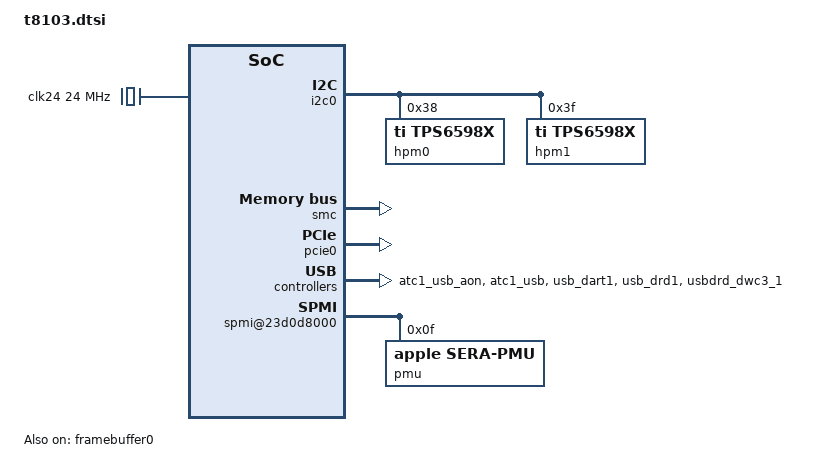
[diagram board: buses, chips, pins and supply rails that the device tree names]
// SPDX-License-Identifier: GPL-2.0+ OR MIT
/*
 * Apple T8103 "M1" SoC
 *
 * Other names: H13G, "Tonga"
 *
 * Copyright The Asahi Linux Contributors
 */

#include <dt-bindings/interrupt-controller/apple-aic.h>
#include <dt-bindings/interrupt-controller/irq.h>
#include <dt-bindings/pinctrl/apple.h>
#include <dt-bindings/spmi/spmi.h>

/ {
	compatible = "apple,t8103", "apple,arm-platform";

	#address-cells = <2>;
	#size-cells = <2>;

	framebuffer0: framebuffer@0 {
		compatible = "apple,simple-framebuffer", "simple-framebuffer";
		reg = <0x0b 0xdf438000 0x00 0x3e80000>;
		format = "x2r10g10b10";
		height = <0x640>;
		stride = <0x2800>;
		width = <0xa00>;
		status = "okay";
	};
	cpus {
		#address-cells = <2>;
		#size-cells = <0>;

		cpu0: cpu@0 {
			compatible = "apple,icestorm";
			device_type = "cpu";
			reg = <0x0 0x0>;
			enable-method = "spin-table";
			cpu-release-addr = <0 0>; /* To be filled by loader */
		};

		cpu1: cpu@1 {
			compatible = "apple,icestorm";
			device_type = "cpu";
			reg = <0x0 0x1>;
			enable-method = "spin-table";
			cpu-release-addr = <0 0>; /* To be filled by loader */
		};

		cpu2: cpu@2 {
			compatible = "apple,icestorm";
			device_type = "cpu";
			reg = <0x0 0x2>;
			enable-method = "spin-table";
			cpu-release-addr = <0 0>; /* To be filled by loader */
		};

		cpu3: cpu@3 {
			compatible = "apple,icestorm";
			device_type = "cpu";
			reg = <0x0 0x3>;
			enable-method = "spin-table";
			cpu-release-addr = <0 0>; /* To be filled by loader */
		};

		cpu4: cpu@10100 {
			compatible = "apple,firestorm";
			device_type = "cpu";
			reg = <0x0 0x10100>;
			enable-method = "spin-table";
			cpu-release-addr = <0 0>; /* To be filled by loader */
		};

		cpu5: cpu@10101 {
			compatible = "apple,firestorm";
			device_type = "cpu";
			reg = <0x0 0x10101>;
			enable-method = "spin-table";
			cpu-release-addr = <0 0>; /* To be filled by loader */
		};

		cpu6: cpu@10102 {
			compatible = "apple,firestorm";
			device_type = "cpu";
			reg = <0x0 0x10102>;
			enable-method = "spin-table";
			cpu-release-addr = <0 0>; /* To be filled by loader */
		};

		cpu7: cpu@10103 {
			compatible = "apple,firestorm";
			device_type = "cpu";
			reg = <0x0 0x10103>;
			enable-method = "spin-table";
			cpu-release-addr = <0 0>; /* To be filled by loader */
		};
	};

	timer {
		compatible = "arm,armv8-timer";
		interrupt-parent = <&aic>;
		interrupt-names = "hyp-phys", "hyp-virt", "phys", "virt";
		interrupts = <AIC_FIQ AIC_TMR_HV_PHYS IRQ_TYPE_LEVEL_HIGH>,
			     <AIC_FIQ AIC_TMR_HV_VIRT IRQ_TYPE_LEVEL_HIGH>,
			     <AIC_FIQ AIC_TMR_GUEST_PHYS IRQ_TYPE_LEVEL_HIGH>,
			     <AIC_FIQ AIC_TMR_GUEST_VIRT IRQ_TYPE_LEVEL_HIGH>;
	};

	clk24: clock-24m {
		compatible = "fixed-clock";
		#clock-cells = <0>;
		clock-frequency = <24000000>;
		clock-output-names = "clk24";
	};

	soc {
		compatible = "simple-bus";
		#address-cells = <2>;
		#size-cells = <2>;

		ranges;
		nonposted-mmio;

		aic: interrupt-controller@23b100000 {
			compatible = "apple,t8103-aic", "apple,aic";
			#interrupt-cells = <3>;
			interrupt-controller;
			reg = <0x2 0x3b100000 0x0 0x8000>;
		};

		serial0: serial@235200000 {
			compatible = "apple,s5l-uart";
			reg = <0x2 0x35200000 0x0 0x1000>;
			reg-io-width = <4>;
			interrupt-parent = <&aic>;
			interrupts = <AIC_IRQ 605 IRQ_TYPE_LEVEL_HIGH>;
			/*
			 * TODO: figure out the clocking properly, there may
			 * be a third selectable clock.
			 */
			clocks = <&clk24>, <&clk24>;
			clock-names = "uart", "clk_uart_baud0";
			status = "disabled";
		};

		gpio_clk: clock@23b700130 {
			compatible = "apple,pmgr-clk-gate";
			reg = <0x2 0x3b700130 0x0 0x8>;
			#clock-cells = <0>;
		};

		pinctrl: pinctrl@23c100000 {
			compatible = "apple,t8103-pinctrl", "apple,pinctrl";
			reg = <0x2 0x3c100000 0x0 0x100000>;
			clocks = <&gpio_clk>;

			gpio-controller;
			#gpio-cells = <2>;
			gpio-ranges = <&pinctrl 0 0 212>;

			i2c0_pins: i2c0_pins {
				pinmux = <APPLE_PINMUX(188, 1)>,
					 <APPLE_PINMUX(192, 1)>;
			};

			pcie_pins: pcie-pins {
				pinmux = <APPLE_PINMUX(150, 1)>,
				         <APPLE_PINMUX(151, 1)>,
					 <APPLE_PINMUX(32, 1)>;
			};
		};

		sio_busif_clk: clock@23b7001c0 {
			compatible = "apple,pmgr-clk-gate";
			reg = <0x2 0x3b7001c0 0x0 0x8>;
			#clock-cells = <0>;
			clocks = <&clk24>;
		};

		sio_clk: clock@23b7001c8 {
			compatible = "apple,pmgr-clk-gate";
			reg = <0x2 0x3b7001c8 0x0 0x8>;
			#clock-cells = <0>;
			clocks = <&sio_busif_clk>;
		};

		i2c0_clk: clock@23b7001f0 {
			compatible = "apple,pmgr-clk-gate";
			reg = <0x2 0x3b7001f0 0x0 0x8>;
			#clock-cells = <0>;
			clocks = <&sio_clk>;
		};

		i2c0: i2c@20a110000 {
			compatible = "apple,i2c-v0";
			reg = <0x2 0x35010000 0x0 0x4000>;
			interrupt-parent = <&aic>;
			interrupts = <AIC_IRQ 627 IRQ_TYPE_LEVEL_HIGH>;
			clocks = <&i2c0_clk>;
			pinctrl-0 = <&i2c0_pins>;
			pinctrl-names = "default";
			#address-cells = <0x1>;
			#size-cells = <0x0>;

			hpm0: hpm@38 {
				compatible = "ti,tps6598x";
				reg = <0x38>;
			};

			hpm1: hpm@3f {
				compatible = "ti,tps6598x";
				reg = <0x3f>;
			};
                };

		imx_clk: clock@23b7001b8 {
			compatible = "apple,pmgr-clk-gate";
			reg = <0x2 0x3b7001b8 0x0 0x8>;
			#clock-cells = <0>;
		};

		pcie_aux_clk: clock@23b700348 {
			compatible = "apple,pmgr-clk-gate";
			reg = <0x2 0x3b700348 0x0 0x8>;
			#clock-cells = <0>;
			clocks = <&imx_clk>;
		};

		pcie_core_clk: clock@23b7003e8 {
			compatible = "apple,pmgr-clk-gate";
			reg = <0x2 0x3b7003e8 0x0 0x8>;
			#clock-cells = <0>;
			clocks = <&pcie_aux_clk>;
		};

		pcie_ref_clk: clock@23b7001a0 {
			compatible = "apple,pmgr-clk-gate";
			reg = <0x2 0x3b7001a0 0x0 0x8>;
			#clock-cells = <0>;
		};

		ans_clk: clock@23b7003f0 {
			compatible = "apple,pmgr-clk-gate";
			reg = <0x2 0x3b7003f0 0x0 0x8>;
			#clock-cells = <0>;
			clocks = <&pcie_aux_clk>;
		};

		ans_st_clk: clock@23b700418 {
			compatible = "apple,pmgr-clk-gate";
			reg = <0x2 0x3b700418 0x0 0x8>;
			#clock-cells = <0>;
			clocks = <&ans_clk>;
		};

		smc_mbox: mbox@23e400000 {
			compatible = "apple,iop-mailbox-m1";
			reg = <0x2 0x3e400000 0x0 0x20000>;
			#mbox-cells = <1>;
			endpoints = <32>;
		};

		smc: smc@23e050000 {
			compatible = "apple,smc-m1";
			reg = <0x2 0x3e050000 0x0 0x4000>;
			mboxes = <&smc_mbox 32>;
			gpio-controller;
			#gpio-cells = <2>;
			gpio-13 = <0x00800000>;
		};

		ans@27bcc0000 {
			compatible = "apple,nvme-m1";
			reg = <0x2 0x7bcc0000 0x0 0x40000>,
			      <0x2 0x7bc50000 0x0 0x4000>;
			interrupt-parent = <&aic>;
			interrupts = <AIC_IRQ 590 IRQ_TYPE_LEVEL_HIGH>;
			clocks = <&ans_st_clk>;
			mboxes = <&ans_mbox 32>;
		};

		ans_mbox: mbox@277400000 {
			compatible = "apple,iop-mailbox-m1";
			reg = <0x2 0x77400000 0x0 0x20000>;
			interrupt-parent = <&aic>;
			interrupts = <AIC_IRQ 583 IRQ_TYPE_LEVEL_HIGH>,
				     <AIC_IRQ 586 IRQ_TYPE_LEVEL_HIGH>;
			clocks = <&ans_st_clk>;
			#mbox-cells = <1>;
			endpoints = <32>;
		};

		dart0: dart@681008000 {
			compatible = "apple,dart-m1";
			reg = <0x6 0x81008000 0x0 0x4000>;
			#iommu-cells = <1>;
			clocks = <&pcie_core_clk>;
			sid-mask = <0xffff>;
			interrupt-parent = <&aic>;
			interrupts = <AIC_IRQ 696 IRQ_TYPE_LEVEL_HIGH>;
		};

		dart1: dart@682008000 {
			compatible = "apple,dart-m1";
			reg = <0x6 0x82008000 0x0 0x4000>;
			#iommu-cells = <1>;
			clocks = <&pcie_core_clk>;
			sid-mask = <0xffff>;
			interrupt-parent = <&aic>;
			interrupts = <AIC_IRQ 699 IRQ_TYPE_LEVEL_HIGH>;
		};

		dart2: dart@683008000 {
			compatible = "apple,dart-m1";
			reg = <0x6 0x83008000 0x0 0x4000>;
			#iommu-cells = <1>;
			clocks = <&pcie_core_clk>;
			sid-mask = <0xffff>;
			interrupt-parent = <&aic>;
			interrupts = <AIC_IRQ 702 IRQ_TYPE_LEVEL_HIGH>;
		};

		pcie0: pcie@690000000 {
			compatible = "apple,t8103-pcie", "apple,pcie",
				     "apple,pcie-m1";

			reg = <0x6 0x90000000 0x0 0x1000000>,
			      <0x6 0x80000000 0x0 0x4000>,
			      <0x6 0x8c000000 0x0 0x4000>,
			      <0x6 0x81000000 0x0 0x8000>,
			      <0x6 0x82000000 0x0 0x8000>,
			      <0x6 0x83000000 0x0 0x8000>;
			reg-names = "config", "rc", "phy", "port0",
				    "port1", "port2";

			interrupt-parent = <&aic>;
			interrupts = <AIC_IRQ 695 IRQ_TYPE_LEVEL_HIGH>,
				     <AIC_IRQ 698 IRQ_TYPE_LEVEL_HIGH>,
				     <AIC_IRQ 701 IRQ_TYPE_LEVEL_HIGH>,
				     <AIC_IRQ 704 IRQ_TYPE_LEVEL_HIGH>,
				     <AIC_IRQ 705 IRQ_TYPE_LEVEL_HIGH>,
				     <AIC_IRQ 706 IRQ_TYPE_LEVEL_HIGH>,
				     <AIC_IRQ 707 IRQ_TYPE_LEVEL_HIGH>,
				     <AIC_IRQ 708 IRQ_TYPE_LEVEL_HIGH>,
				     <AIC_IRQ 709 IRQ_TYPE_LEVEL_HIGH>,
				     <AIC_IRQ 710 IRQ_TYPE_LEVEL_HIGH>,
				     <AIC_IRQ 711 IRQ_TYPE_LEVEL_HIGH>,
				     <AIC_IRQ 712 IRQ_TYPE_LEVEL_HIGH>,
				     <AIC_IRQ 713 IRQ_TYPE_LEVEL_HIGH>,
				     <AIC_IRQ 714 IRQ_TYPE_LEVEL_HIGH>,
				     <AIC_IRQ 715 IRQ_TYPE_LEVEL_HIGH>,
				     <AIC_IRQ 716 IRQ_TYPE_LEVEL_HIGH>,
				     <AIC_IRQ 717 IRQ_TYPE_LEVEL_HIGH>,
				     <AIC_IRQ 718 IRQ_TYPE_LEVEL_HIGH>,
				     <AIC_IRQ 719 IRQ_TYPE_LEVEL_HIGH>,
				     <AIC_IRQ 720 IRQ_TYPE_LEVEL_HIGH>,
				     <AIC_IRQ 721 IRQ_TYPE_LEVEL_HIGH>,
				     <AIC_IRQ 722 IRQ_TYPE_LEVEL_HIGH>,
				     <AIC_IRQ 723 IRQ_TYPE_LEVEL_HIGH>,
				     <AIC_IRQ 724 IRQ_TYPE_LEVEL_HIGH>,
				     <AIC_IRQ 725 IRQ_TYPE_LEVEL_HIGH>,
				     <AIC_IRQ 726 IRQ_TYPE_LEVEL_HIGH>,
				     <AIC_IRQ 727 IRQ_TYPE_LEVEL_HIGH>,
				     <AIC_IRQ 728 IRQ_TYPE_LEVEL_HIGH>,
				     <AIC_IRQ 729 IRQ_TYPE_LEVEL_HIGH>,
				     <AIC_IRQ 730 IRQ_TYPE_LEVEL_HIGH>,
				     <AIC_IRQ 731 IRQ_TYPE_LEVEL_HIGH>,
				     <AIC_IRQ 732 IRQ_TYPE_LEVEL_HIGH>,
				     <AIC_IRQ 733 IRQ_TYPE_LEVEL_HIGH>,
				     <AIC_IRQ 734 IRQ_TYPE_LEVEL_HIGH>,
				     <AIC_IRQ 735 IRQ_TYPE_LEVEL_HIGH>;

			msi-controller;
			msi-parent = <&pcie0>;
			msi-ranges = <704 32>;

			iommu-map = <0x100 &dart0 1 1>,
				    <0x200 &dart1 1 1>,
				    <0x300 &dart2 1 1>;
			iommu-map-mask = <0xff00>;

			bus-range = <0 3>;
			#address-cells = <3>;
			#size-cells = <2>;
			ranges = <0x43000000 0x6 0xa0000000 0x6 0xa0000000
			          0x0 0x20000000>,
				 <0x02000000 0x0 0xc0000000 0x6 0xc0000000
				  0x0 0x40000000>;

			clocks = <&pcie_core_clk>, <&pcie_aux_clk>,
				 <&pcie_ref_clk>;
			pinctrl-0 = <&pcie_pins>;
			pinctrl-names = "default";

			device_type = "pci";

			pci@0,0 {
				device_type = "pci";
				reg = <0x0 0x0 0x0 0x0 0x0>;
				pwren-gpios = <&smc 13 0>;
				reset-gpios = <&pinctrl 152 0>;
				max-link-speed = <2>;

				#address-cells = <3>;
				#size-cells = <2>;
				ranges;
			};

			pci@1,0 {
				device_type = "pci";
				reg = <0x800 0x0 0x0 0x0 0x0>;
				reset-gpios = <&pinctrl 153 0>;
				max-link-speed = <2>;

				#address-cells = <3>;
				#size-cells = <2>;
				ranges;
			};

			pci@2,0 {
				device_type = "pci";
				reg = <0x1000 0x0 0x0 0x0 0x0>;
				reset-gpios = <&pinctrl 33 0>;
				max-link-speed = <1>;

				#address-cells = <3>;
				#size-cells = <2>;
				ranges;
			};
		};

		atc1_common: clock@23b700448 {
			compatible = "apple,pmgr-clk-gate";
			reg = <0x2 0x3b700448 0x0 0x8>;
			#clock-cells = <0>;
			clocks = <&clk24>;
		};

		atc1_usb_aon: clock@23d280090 {
			compatible = "apple,pmgr-clk-gate";
			reg = <0x2 0x3d280090 0x0 0x8>;
			#clock-cells = <0>;
			clocks = <&atc1_common>;
		};

		atc1_usb: clock@23d2800a0 {
			compatible = "apple,pmgr-clk-gate";
			reg = <0x2 0x3d2800a0 0x0 0x8>;
			#clock-cells = <0>;
			clocks = <&atc1_usb_aon>;
		};

		usb_dart1: usb_dart1@502f00000 {
			compatible = "apple,dart-m1";
			reg = <0x5 0x02f00000 0x0 0x80000>,
			      <0x5 0x02f80000 0x0 0x4000>;
			#iommu-cells = <1>;
			clocks = <&atc1_usb>;
			sid-mask = <11>;
			sid-remap = <0 1>;
		};

		usb_drd1: usb_drd1@502280000 {
			compatible = "apple,dwc3-m1";
			reg = <0x5 0x00000000 0x0 0x1000000>,
			      <0x5 0x02000000 0x0 0x1000000>;
			reg-names = "atcphy", "usbcore";
			clocks = <>;
			#address-cells = <2>;
			#size-cells = <2>;
			ranges;

		};

		usbdrd_dwc3_1: dwc3@502280000 {
			compatible = "snps,dwc3";
			reg = <0x5 0x02280000 0x0 0x100000>;
			#address-cells = <1>;
			#size-cells = <0>;
		};
		reboot@23d2b0000 {
			compatible = "apple,reboot-v0";
			reg = <0x2 0x3d2b0000 0x0 0x4000>;
		};

		spmi@23d0d8000 {
			compatible = "apple,t8103-spmi", "apple,spmi";
			reg = <0x2 0x3d0d9300 0x0 0x100>;
			interrupt-parent = <&aic>;
			interrupts = <AIC_IRQ 343 IRQ_TYPE_LEVEL_HIGH>;

			#address-cells = <2>;
			#size-cells = <0>;

			pmu@f {
				compatible = "apple,sera-pmu";
				reg = <0xf SPMI_USID>;
			};
		};
	};
};
